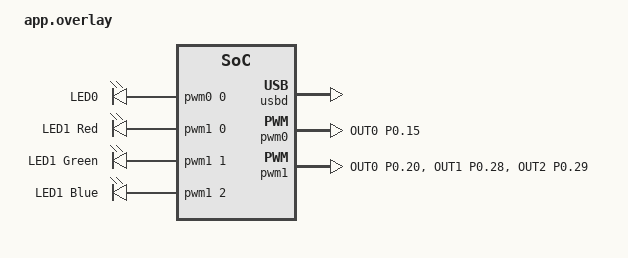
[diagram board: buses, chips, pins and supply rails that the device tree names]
/ {
	/* Configure DTS nodes used for USB next HID support. */
	hid_dev_0: hid_dev_0 {
		compatible = "zephyr,hid-device";
		interface-name = "HID0";
		protocol-code = "none";
		in-polling-period-us = <1000>;
		in-report-size = <64>;
	};
	hid_dev_1: hid_dev_1 {
		compatible = "zephyr,hid-device";
		interface-name = "HID1";
		protocol-code = "none";
		in-polling-period-us = <1000>;
		in-report-size = <64>;
	};

	pwmleds0 {
		compatible = "pwm-leds";
		status = "okay";

		led0_g: led_pwm_0 {
			pwms = <&pwm0 0 PWM_MSEC(20) PWM_POLARITY_INVERTED>;
			label = "LED0";
		};
	};

	pwmleds1 {
		compatible = "pwm-leds";
		status = "okay";

		led1_r: led_pwm_1 {
			pwms = <&pwm1 0 PWM_MSEC(1) PWM_POLARITY_INVERTED>;
			label = "LED1 Red";
		};

		led1_g: led_pwm_2 {
			pwms = <&pwm1 1 PWM_MSEC(1) PWM_POLARITY_INVERTED>;
			label = "LED1 Green";
		};

		led1_b: led_pwm_3 {
			pwms = <&pwm1 2 PWM_MSEC(1) PWM_POLARITY_INVERTED>;
			label = "LED1 Blue";
		};
	};
};

&usbd {
	compatible = "nordic,nrf-usbd";
	status = "okay";
	num-bidir-endpoints = <0>;
	num-in-endpoints = <4>;
	num-out-endpoints = <2>;
	num-isoin-endpoints = <0>;
	num-isoout-endpoints = <0>;
};

&pwm0 {
	status = "okay";
	pinctrl-0 = <&pwm0_default_alt>;
	pinctrl-1 = <&pwm0_sleep_alt>;
	pinctrl-names = "default", "sleep";
};

&pwm1 {
	status = "okay";
	pinctrl-0 = <&pwm1_default_alt>;
	pinctrl-1 = <&pwm1_sleep_alt>;
	pinctrl-names = "default", "sleep";
};

&pinctrl {
	pwm0_default_alt: pwm0_default_alt {
		group1 {
			psels = <NRF_PSEL(PWM_OUT0, 0, 15)>;
			nordic,invert;
		};
	};

	pwm0_sleep_alt: pwm0_sleep_alt {
		group1 {
			psels = <NRF_PSEL(PWM_OUT0, 0, 15)>;
			low-power-enable;
		};
	};

	pwm1_default_alt: pwm1_default_alt {
		group1 {
			psels = <NRF_PSEL(PWM_OUT0, 0, 20)>,
				<NRF_PSEL(PWM_OUT1, 0, 28)>,
				<NRF_PSEL(PWM_OUT2, 0, 29)>;
			nordic,invert;
		};
	};

	pwm1_sleep_alt: pwm1_sleep_alt {
		group1 {
			psels = <NRF_PSEL(PWM_OUT0, 0, 20)>,
				<NRF_PSEL(PWM_OUT1, 0, 28)>,
				<NRF_PSEL(PWM_OUT2, 0, 29)>;
			low-power-enable;
		};
	};

};
